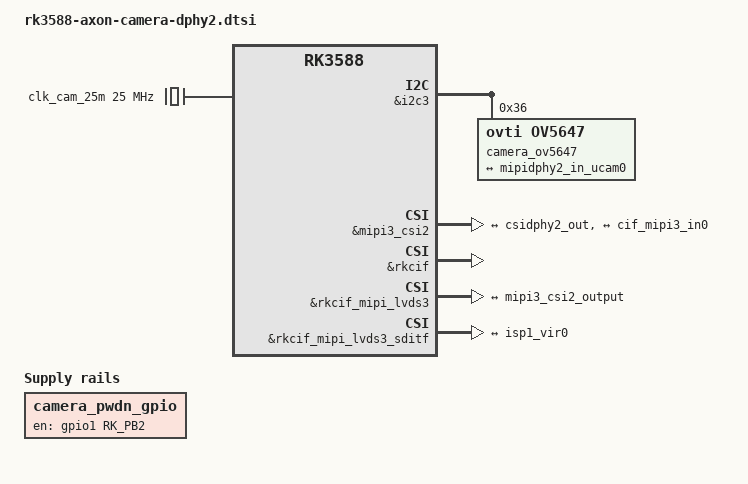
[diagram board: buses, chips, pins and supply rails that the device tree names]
// SPDX-License-Identifier: (GPL-2.0+ OR MIT)
//
// * Copyright (C) 2023 Vicharak India
// 

/{
	compatible = "vicharak,rk3588-axon", "rockchip,rk3588";
	
	camera_pwdn_gpio: camera-pwdn-gpio {
                  status = "okay";
                  compatible = "regulator-fixed";
                  regulator-name = "camera_pwdn_gpio";
                  regulator-always-on;
                  regulator-boot-on;
                  enable-active-high;
                  gpio = <&gpio1 RK_PB2 GPIO_ACTIVE_HIGH>;
                  pinctrl-names = "default";
                  pinctrl-0 = <&cam_pwdn_gpio>;
          ;
  
          clk_cam_25m: external-camera-clock-25m {
                  status = "okay";
                  compatible = "fixed-clock";
                  clock-frequency = <25000000>;
                  clock-output-names = "clk_cam_25m";
                  #clock-cells = <0>;
          };

};

&i2c3 {
         status = "okay";
         camera_ov5647: camera-ov5647@36 {
                 status = "okay";
		 compatible = "ovti,ov5647";
		 reg = <0x36>;
 
                 clocks = <&clk_cam_25m>;
                 clock-names = "xvclk";
 
                 rockchip,camera-module-index = <0>;
                 rockchip,camera-module-facing = "back";
                 rockchip,camera-module-name = "ov5647";
                 rockchip,camera-module-lens-name = "default";
 
                 port {
                         ov5647_out0: endpoint {
                                 remote-endpoint = <&mipidphy2_in_ucam0>;
                                 data-lanes = <3 4>;
                         };
                 };
         };
 };

&csi2_dphy2 {
        status = "okay";

        ports {
                #address-cells = <1>;
                #size-cells = <0>;

                port@0 {
                        reg = <0>;
                        #address-cells = <1>;
                        #size-cells = <0>;

                        mipidphy2_in_ucam0: endpoint@1 {
                                reg = <1>;
                                remote-endpoint = <&ov5647_out0>;
                                data-lanes = <3 4>;
                        };

                };

                port@1 {
                        reg = <1>;
                        #address-cells = <1>;
                        #size-cells = <0>;

                        csidphy2_out: endpoint@0 {
                                reg = <0>;
                                remote-endpoint = <&mipi3_csi2_input>;
                        };
                };
        };
};

&mipi3_csi2 {
        status = "okay";

        ports {
                #address-cells = <1>;
                #size-cells = <0>;

                port@0 {
                        reg = <0>;
                        #address-cells = <1>;
                        #size-cells = <0>;

                        mipi3_csi2_input: endpoint@1 {
                                reg = <1>;
                                remote-endpoint = <&csidphy2_out>;
                        };
                };

                port@1 {
                        reg = <1>;
                        #address-cells = <1>;
                        #size-cells = <0>;

                        mipi3_csi2_output: endpoint@0 {
                                reg = <0>;
                                remote-endpoint = <&cif_mipi3_in0>;
                        };
                };
        };
};

&rkcif {
        status = "okay";
};

&rkcif_mipi_lvds3 {
        status = "okay";

        port {
                cif_mipi3_in0: endpoint {
                        remote-endpoint = <&mipi3_csi2_output>;
                };
        };
};

&rkcif_mipi_lvds3_sditf {
        status = "okay";

        port {
                mipi_lvds3_sditf: endpoint {
                        remote-endpoint = <&isp1_vir0>;
                };
        };
};

&rkcif_mmu {
        status = "okay";
};

&rkisp1 {
        status = "okay";
};

&isp1_mmu {
        status = "okay";
};

&rkisp1_vir0 {
        status = "okay";

        port {
                #address-cells = <1>;
                #size-cells = <0>;

                isp1_vir0: endpoint@0 {
                        reg = <0>;
                        remote-endpoint = <&mipi_lvds3_sditf>;
                };
        };
};

&pinctrl {
        camera {
                cam_pwdn_gpio: cam-pwdn-gpio {
                        rockchip,pins = <1 RK_PB2 RK_FUNC_GPIO &pcfg_pull_up>;
                };
        };
};

